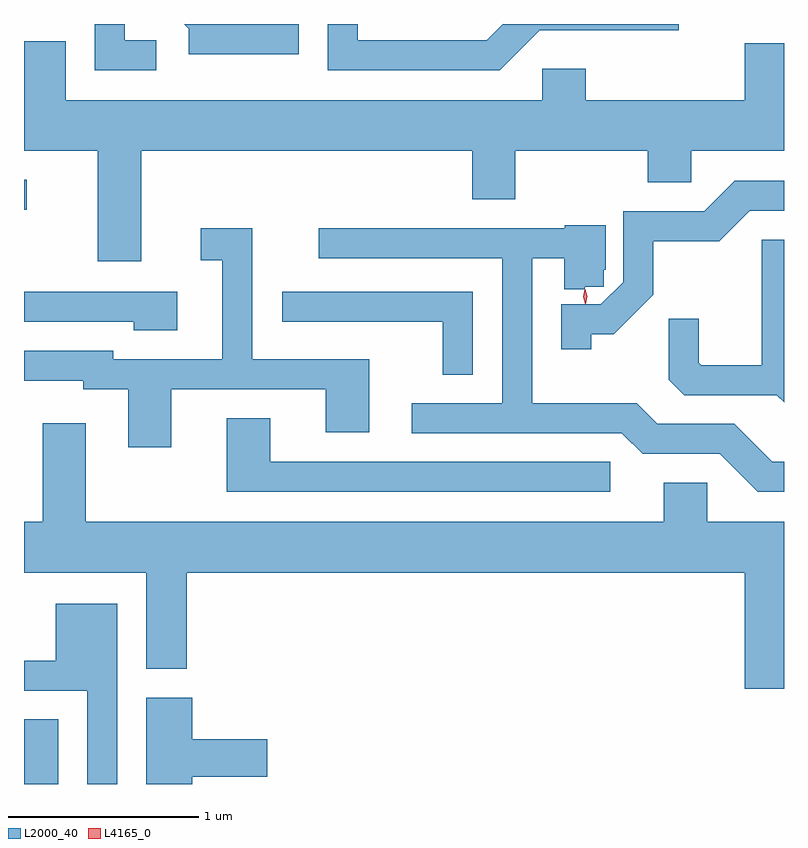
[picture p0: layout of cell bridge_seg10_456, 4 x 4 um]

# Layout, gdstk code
import gdstk
lib = gdstk.Library(unit=1e-6, precision=1e-09)
def R(c, l, rs):  # rectangles x0, y0, x1, y1
    for r in rs: c.add(gdstk.rectangle(r[:2], r[2:], *l))
def P(c, l, *ps):  # polygons
    for p in ps: c.add(gdstk.Polygon(p, *l))
L2000_40 = (2000, 40)
L4165_0 = (4165, 0)

bridge_seg10_456 = lib.new_cell('bridge_seg10_456')
R(bridge_seg10_456, L2000_40, [(1050.443,2161.644,1050.624,2161.984), (1050.443,2164.666,1050.458,2164.824)])
P(bridge_seg10_456, L2000_40, [(1051.889,2165.644),(1051.286,2165.644),(1051.311,2165.619),(1051.311,2165.486),(1051.889,2165.486)],
  [(1053.157,2165.611),(1053.889,2165.611),(1053.889,2165.644),(1052.964,2165.644),(1052.879,2165.559),(1052.199,2165.559),(1052.199,2165.644),(1052.041,2165.644),(1052.041,2165.401),(1052.947,2165.401)],
  [(1051.138,2165.559),(1050.974,2165.559),(1050.974,2165.644),(1050.816,2165.644),(1050.816,2165.401),(1051.138,2165.401)],
  [(1051.059,2164.976),(1052.801,2164.976),(1052.801,2164.721),(1053.029,2164.721),(1053.029,2164.976),(1053.726,2164.976),(1053.726,2164.811),(1053.954,2164.811),(1053.954,2164.976),(1054.443,2164.976),(1054.443,2165.544),(1054.236,2165.544),(1054.236,2165.244),(1053.399,2165.244),(1053.399,2165.409),(1053.171,2165.409),(1053.171,2165.244),(1050.664,2165.244),(1050.664,2165.554),(1050.443,2165.554),(1050.443,2164.976),(1050.831,2164.976),(1050.831,2164.396),(1051.059,2164.396)],
  [(1053.429,2164.011),(1053.547,2164.011),(1053.754,2164.219),(1053.754,2164.501),(1054.102,2164.501),(1054.262,2164.661),(1054.443,2164.661),(1054.443,2164.819),(1054.184,2164.819),(1054.024,2164.659),(1053.596,2164.659),(1053.596,2164.286),(1053.478,2164.168),(1053.271,2164.168),(1053.271,2163.933),(1053.429,2163.933)],
  [(1054.443,2163.339),(1054.382,2163.339),(1054.182,2163.539),(1053.777,2163.539),(1053.667,2163.649),(1053.119,2163.649),(1053.119,2164.411),(1053.286,2164.411),(1053.286,2164.249),(1053.395,2164.249),(1053.395,2164.261),(1053.493,2164.261),(1053.493,2164.351),(1053.504,2164.351),(1053.504,2164.584),(1053.29,2164.584),(1053.29,2164.569),(1051.993,2164.569),(1051.993,2164.411),(1052.961,2164.411),(1052.961,2163.649),(1052.483,2163.649),(1052.483,2163.491),(1053.589,2163.491),(1053.699,2163.381),(1054.104,2163.381),(1054.304,2163.181),(1054.443,2163.181)],
  [(1051.219,2163.721),(1052.031,2163.721),(1052.031,2163.496),(1052.259,2163.496),(1052.259,2163.879),(1051.644,2163.879),(1051.644,2164.569),(1051.373,2164.569),(1051.373,2164.401),(1051.486,2164.401),(1051.486,2163.879),(1050.914,2163.879),(1050.914,2163.924),(1050.443,2163.924),(1050.443,2163.766),(1050.756,2163.766),(1050.756,2163.721),(1050.991,2163.721),(1050.991,2163.416),(1051.219,2163.416)],
  [(1054.443,2164.509),(1054.326,2164.509),(1054.326,2163.849),(1054.007,2163.849),(1053.994,2163.862),(1053.994,2164.093),(1053.836,2164.093),(1053.836,2163.772),(1053.917,2163.691),(1054.404,2163.691),(1054.443,2163.652)],
  [(1051.249,2164.234),(1050.443,2164.234),(1050.443,2164.076),(1051.021,2164.076),(1051.021,2164.031),(1051.249,2164.031)],
  [(1052.804,2164.234),(1051.803,2164.234),(1051.803,2164.076),(1052.646,2164.076),(1052.646,2163.798),(1052.804,2163.798)],
  [(1053.528,2163.339),(1051.739,2163.339),(1051.739,2163.569),(1051.511,2163.569),(1051.511,2163.181),(1053.528,2163.181)],
  [(1054.443,2163.024),(1054.039,2163.024),(1054.039,2163.229),(1053.811,2163.229),(1053.811,2163.024),(1050.769,2163.024),(1050.769,2163.544),(1050.541,2163.544),(1050.541,2163.024),(1050.443,2163.024),(1050.443,2162.756),(1051.086,2162.756),(1051.086,2162.251),(1051.299,2162.251),(1051.299,2162.756),(1054.236,2162.756),(1054.236,2162.146),(1054.443,2162.146)],
  [(1050.934,2162.594),(1050.611,2162.594),(1050.611,2162.294),(1050.443,2162.294),(1050.443,2162.136),(1050.776,2162.136),(1050.776,2161.644),(1050.934,2161.644)],
  [(1051.329,2161.681),(1051.724,2161.681),(1051.724,2161.879),(1051.329,2161.879),(1051.329,2162.099),(1051.086,2162.099),(1051.086,2161.644),(1051.329,2161.644)])
P(bridge_seg10_456, L4165_0, [(1053.398,2164.172),(1053.398,2164.172),(1053.387,2164.209),(1053.395,2164.247),(1053.395,2164.247),(1053.396,2164.247),(1053.407,2164.21),(1053.399,2164.172)],
  [(1053.398,2164.174),(1053.398,2164.174),(1053.387,2164.209),(1053.395,2164.245),(1053.395,2164.245),(1053.396,2164.245),(1053.407,2164.21),(1053.399,2164.174)])

lib.write_gds('bridge_seg10_456.gds')
